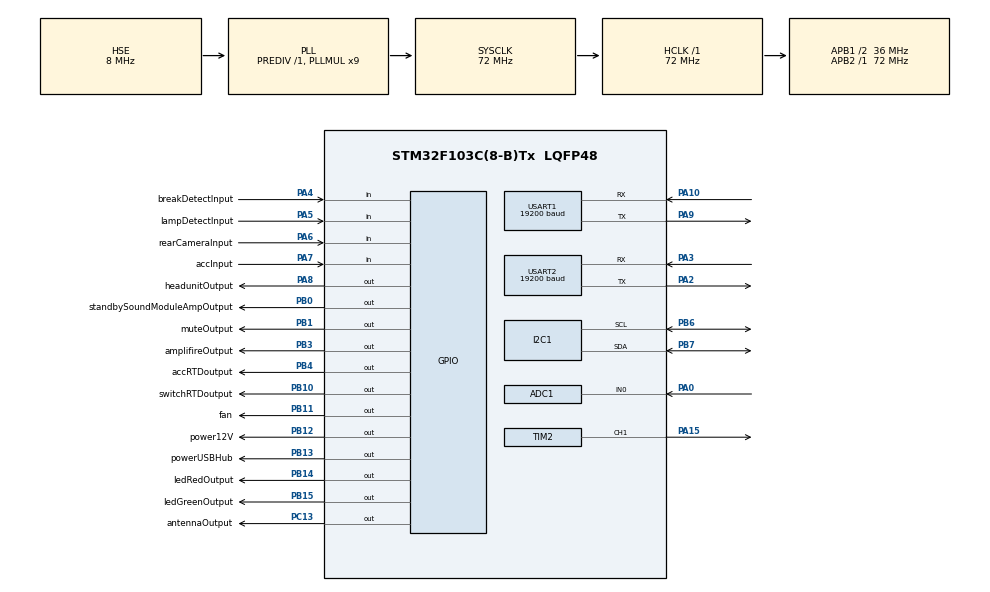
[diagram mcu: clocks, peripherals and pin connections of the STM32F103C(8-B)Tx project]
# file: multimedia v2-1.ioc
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ADC1.Channel-0\#ChannelRegularConversion=ADC_CHANNEL_0
ADC1.Channel-1\#ChannelRegularConversion=ADC_CHANNEL_TEMPSENSOR
ADC1.ContinuousConvMode=ENABLE
ADC1.DataAlign=ADC_DATAALIGN_RIGHT
ADC1.DiscontinuousConvMode=DISABLE
ADC1.EnableAnalogWatchDog=false
ADC1.EnableRegularConversion=ENABLE
ADC1.ExternalTrigConv=ADC_SOFTWARE_START
ADC1.InjNumberOfConversion=0
ADC1.NbrOfConversion=2
ADC1.NbrOfConversionFlag=1
ADC1.Rank-0\#ChannelRegularConversion=1
ADC1.Rank-1\#ChannelRegularConversion=2
ADC1.SamplingTime-0\#ChannelRegularConversion=ADC_SAMPLETIME_239CYCLES_5
ADC1.SamplingTime-1\#ChannelRegularConversion=ADC_SAMPLETIME_239CYCLES_5
ADC1.ScanConvMode=ADC_SCAN_ENABLE
ADC1.master=1
Dma.ADC1.0.Direction=DMA_PERIPH_TO_MEMORY
Dma.ADC1.0.Instance=DMA1_Channel1
Dma.ADC1.0.MemDataAlignment=DMA_MDATAALIGN_WORD
Dma.ADC1.0.MemInc=DMA_MINC_ENABLE
Dma.ADC1.0.Mode=DMA_CIRCULAR
Dma.ADC1.0.PeriphDataAlignment=DMA_PDATAALIGN_WORD
Dma.ADC1.0.PeriphInc=DMA_PINC_DISABLE
Dma.ADC1.0.Priority=DMA_PRIORITY_LOW
Dma.Request0=ADC1
Dma.Request1=USART1_RX
Dma.Request2=USART2_RX
Dma.USART1_RX.1.Direction=DMA_PERIPH_TO_MEMORY
Dma.USART1_RX.1.Instance=DMA1_Channel5
Dma.USART1_RX.1.MemDataAlignment=DMA_MDATAALIGN_BYTE
Dma.USART1_RX.1.MemInc=DMA_MINC_ENABLE
Dma.USART1_RX.1.Mode=DMA_NORMAL
Dma.USART1_RX.1.PeriphDataAlignment=DMA_PDATAALIGN_BYTE
Dma.USART1_RX.1.PeriphInc=DMA_PINC_DISABLE
Dma.USART1_RX.1.Priority=DMA_PRIORITY_LOW
Dma.USART2_RX.2.Direction=DMA_PERIPH_TO_MEMORY
Dma.USART2_RX.2.Instance=DMA1_Channel6
Dma.USART2_RX.2.MemDataAlignment=DMA_MDATAALIGN_BYTE
Dma.USART2_RX.2.MemInc=DMA_MINC_ENABLE
Dma.USART2_RX.2.Mode=DMA_NORMAL
Dma.USART2_RX.2.PeriphDataAlignment=DMA_PDATAALIGN_BYTE
Dma.USART2_RX.2.PeriphInc=DMA_PINC_DISABLE
Dma.USART2_RX.2.Priority=DMA_PRIORITY_LOW
I2C1.AddressingMode=I2C_ADDRESSINGMODE_7BIT
IWDG.Prescaler=IWDG_PRESCALER_256
IWDG.Reload=4095
Mcu.Family=STM32F1
Mcu.Name=STM32F103C(8-B)Tx
Mcu.Package=LQFP48
NVIC.ADC1_2_IRQn=true\:0\:0\:false\:false\:true\:true\:true
NVIC.DMA1_Channel1_IRQn=true\:0\:0\:false\:false\:true\:false\:true
NVIC.DMA1_Channel5_IRQn=true\:0\:0\:false\:false\:true\:false\:true
NVIC.DMA1_Channel6_IRQn=true\:0\:0\:false\:false\:true\:false\:true
NVIC.PriorityGroup=NVIC_PRIORITYGROUP_4
NVIC.USART1_IRQn=true\:0\:0\:false\:false\:true\:true\:true
NVIC.USART2_IRQn=true\:0\:0\:false\:false\:true\:true\:true
PA0-WKUP.Signal=ADCx_IN0
PA10.Mode=Asynchronous
PA10.Signal=USART1_RX
PA13.Mode=Serial_Wire
PA13.Signal=SYS_JTMS-SWDIO
PA14.Mode=Serial_Wire
PA14.Signal=SYS_JTCK-SWCLK
PA15.Signal=S_TIM2_CH1_ETR
PA2.Mode=Asynchronous
PA2.Signal=USART2_TX
PA3.Mode=Asynchronous
PA3.Signal=USART2_RX
PA4.GPIO_Label=breakDetectInput
PA4.GPIO_PuPd=GPIO_PULLUP
PA4.Signal=GPIO_Input
PA5.GPIO_Label=lampDetectInput
PA5.GPIO_PuPd=GPIO_PULLUP
PA5.Signal=GPIO_Input
PA6.GPIO_Label=rearCameraInput
PA6.GPIO_PuPd=GPIO_PULLUP
PA6.Signal=GPIO_Input
PA7.GPIO_Label=accInput
PA7.GPIO_PuPd=GPIO_PULLUP
PA7.Signal=GPIO_Input
PA8.GPIO_Label=headunitOutput
PA8.GPIO_ModeDefaultOutputPP=GPIO_MODE_OUTPUT_PP
PA8.GPIO_PuPd=GPIO_NOPULL
PA8.PinState=GPIO_PIN_SET
PA8.Signal=GPIO_Output
PA9.Mode=Asynchronous
PA9.Signal=USART1_TX
PB0.GPIO_Label=standbySoundModuleAmpOutput
PB0.Signal=GPIO_Output
PB1.GPIO_Label=muteOutput
PB1.Signal=GPIO_Output
PB10.GPIO_Label=switchRTDoutput
PB10.Signal=GPIO_Output
PB11.GPIO_Label=fan
PB11.Signal=GPIO_Output
PB12.GPIO_Label=power12V
PB12.Signal=GPIO_Output
PB13.GPIO_Label=powerUSBHub
PB13.Signal=GPIO_Output
PB14.GPIO_Label=ledRedOutput
PB14.Signal=GPIO_Output
PB15.GPIO_Label=ledGreenOutput
PB15.Signal=GPIO_Output
PB3.GPIO_Label=amplifireOutput
PB3.Signal=GPIO_Output
PB4.GPIO_Label=accRTDoutput
PB4.PinState=GPIO_PIN_SET
PB4.Signal=GPIO_Output
PB6.Mode=I2C
PB6.Signal=I2C1_SCL
PB7.Mode=I2C
PB7.Signal=I2C1_SDA
PC13-TAMPER-RTC.GPIO_Label=antennaOutput
PC13-TAMPER-RTC.Signal=GPIO_Output
PD0-OSC_IN.Mode=HSE-External-Oscillator
PD0-OSC_IN.Signal=RCC_OSC_IN
PD1-OSC_OUT.Mode=HSE-External-Oscillator
PD1-OSC_OUT.Signal=RCC_OSC_OUT
ProjectManager.HeapSize=0x200
ProjectManager.StackSize=0x400
ProjectManager.TargetToolchain=MDK-ARM V5
RCC.ADCPresc=RCC_ADCPCLK2_DIV6
RCC.AHBFreq_Value=72000000
RCC.APB1CLKDivider=RCC_HCLK_DIV2
RCC.APB1Freq_Value=36000000
RCC.APB1TimFreq_Value=72000000
RCC.APB2Freq_Value=72000000
RCC.APB2TimFreq_Value=72000000
RCC.HCLKFreq_Value=72000000
RCC.PLLMUL=RCC_PLL_MUL9
RCC.PLLSourceVirtual=RCC_PLLSOURCE_HSE
RCC.SYSCLKFreq_VALUE=72000000
RCC.SYSCLKSource=RCC_SYSCLKSOURCE_PLLCLK
RCC.USBFreq_Value=48000000
RCC.USBPrescaler=RCC_USBCLKSOURCE_PLL_DIV1_5
RCC.VDD_VALUE=3.3
SH.ADCx_IN0.0=ADC1_IN0,IN0
SH.S_TIM2_CH1_ETR.0=TIM2_CH1,PWM Generation1 CH1
TIM2.AutoReloadPreload=TIM_AUTORELOAD_PRELOAD_DISABLE
TIM2.Channel-PWM\ Generation1\ CH1=TIM_CHANNEL_1
TIM2.ClockDivision=TIM_CLOCKDIVISION_DIV1
TIM2.CounterMode=TIM_COUNTERMODE_UP
TIM2.OCFastMode_PWM-PWM\ Generation1\ CH1=TIM_OCFAST_DISABLE
TIM2.OCMode_PWM-PWM\ Generation1\ CH1=TIM_OCMODE_PWM1
TIM2.OCPolarity_1=TIM_OCPOLARITY_LOW
TIM2.Period=110
TIM2.Prescaler=69
TIM2.Pulse-PWM\ Generation1\ CH1=0
TIM2.TIM_MasterOutputTrigger=TIM_TRGO_RESET
TIM2.TIM_MasterSlaveMode=TIM_MASTERSLAVEMODE_DISABLE
USART1.BaudRate=19200
USART1.VirtualMode=VM_ASYNC
USART2.BaudRate=19200
USART2.VirtualMode=VM_ASYNC
VP_ADC1_TempSens_Input.Mode=IN-TempSens
VP_IWDG_VS_IWDG.Mode=IWDG_Activate
VP_TIM2_VS_ClockSourceINT.Mode=Internal
board=multimedia v2-1

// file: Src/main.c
/* USER CODE BEGIN Header */
/**
  ******************************************************************************
  * @file           : main.c
  * @brief          : Main program body
  ******************************************************************************

  */
/* USER CODE END Header */

#include "main.h"

/* USER CODE BEGIN Includes */
#include "stdbool.h"

/* USER CODE END Includes */

ADC_HandleTypeDef hadc1;
DMA_HandleTypeDef hdma_adc1;

I2C_HandleTypeDef hi2c1;

IWDG_HandleTypeDef hiwdg;

TIM_HandleTypeDef htim2;

UART_HandleTypeDef huart1;
UART_HandleTypeDef huart2;
DMA_HandleTypeDef hdma_usart1_rx;
DMA_HandleTypeDef hdma_usart2_rx;

/* USER CODE BEGIN PV */
GPIO_PinState acciPinState, reverseGearPinState, carLightLampPinState;

/* Private variables ---------------------------------------------------------*/
HAL_StatusTypeDef readAdc;
bool debugState = true;
bool  avTVinputState = false;
bool  carLightState = false;
bool  radioAntenaState = false;
bool  avCameraInputState = false;
bool  accState = false;
bool  firstRun = true;
bool  firstOFF = true;
bool  headUnitCPU_HighTemp = false;
bool delaySwChannelOne = false;
bool delaySwChannelTwo = false;

//uint8_t buffer[8]={0x00, 0x00, 0x00, 0x63, 0x04, 0x23, 0x12, 0x15};
uint8_t pt2313_buffer[8]=
{15,//mainVolume
192,//LeftFront 223-192
224,//RightFront 255-224
128,//LeftRear 159-128
160,//RightRear 191-160
93,//switch mode 64aux  93android & BT  90radio
96,//base 111-96
112//treble 127-112
};

int  i2c_timeout = 2;
int uart_timeout = 100;

int bluetoothCMDlength = 6;
uint32_t TimCall = 0;
HAL_StatusTypeDef init = HAL_BUSY;
int rx_index=0;
int MCU_SHUTDOWN_TIMER = 0;
bool fanPermition = true;
bool fanState = true;
uint8_t rx_data = 0;
uint8_t rx_buffer[64];

uint8_t rx2_data=0;
uint8_t rx2_buffer[64];
int rx2_index=0;

double VroomTemp = 1.43;
double avg_slope = 4.3;
double Vsense = 0;
uint32_t temp = 0;

uint16_t soundModuleI2CAddress = 0x89;
uint16_t RadioModuleI2CAddress = 0xC0;

uint8_t mode[3] = {'m','o','d'};			//MODE androidBT , Radio , AUX
uint8_t audio[3] = {'a','u','d'};			//Audio
uint8_t radio[3] = {'r','a','d'};			//Radio
uint8_t bluetooth[3] = {'b','l','t'};	//Bluetooth
uint8_t other[3] = {'o','t','h'};     //other commads such as brightness , cpu temp , switch av channel
uint8_t debug[3] = {'d','b','g'};			//Debug

uint8_t rspnsReadyStatus[3]= {'M','G','1'};
uint8_t rspnsConnectingStatus[3]= {'M','G','2'};
uint8_t rspnsConnectedStatus[3]= {'M','G','3'};
uint8_t rspnsOutCallStatus[3]= {'M','G','4'};
uint8_t rspnsInCallStatus[3]= {'M','G','5'};
uint8_t rspnsOnCallStatus[3]= {'M','G','6'};
uint8_t rspnsNum[3]= {'N','U','M'};
uint8_t rspnsEnterPairing[2]= {'I','I'};
uint8_t rspnsMusicStart[2]= {'M','B'};
uint8_t rspnsMusicPause[2]= {'M','P'};
uint8_t rspnsMusicStop[2]= {'M','A'};
uint8_t rspnsMusicResume[2]= {'M','R'};
uint8_t rspnsConnectToDevice[2]= {'I','V'};
uint8_t rspnsOutgoingCall[2]= {'I','R'};

uint32_t ADC_buffer[2];

float vsense = 3.3/1023;
int pwmValue = 130 ; //brightness default value
int pwmValueLightOn = 95 ;
/* USER CODE END PV */

void SystemClock_Config(void);
static void MX_GPIO_Init(void);
static void MX_DMA_Init(void);
static void MX_USART1_UART_Init(void);
static void MX_I2C1_Init(void);
static void MX_USART2_UART_Init(void);
static void MX_ADC1_Init(void);
static void MX_IWDG_Init(void);
static void MX_TIM2_Init(void);
/* USER CODE BEGIN PFP */

void custom_delay(uint32_t milliseconds);
bool areEqual(uint8_t arr1[], uint8_t arr2[], int i, int n);
void checkMode(void);
void checkAudio(void);
void checkRadio(void);
void bluetoothSettings(void);
void bluetoothCall(void);
void bluetoothMusic(void);
void checkBluetooth(void);
void checkOtherCommands(void);
int arrayToInt(uint8_t mArr[]);
int arrayToInt_withIndex_soundValues(uint8_t mArr[],int index);
int arrayToInt_withIndex_radioValues(uint8_t mArr[],int index);
bool checkDeviceI2cConnection(uint16_t DevAddress);
bool reverseGearPinStateFunc (void);
bool acciPinStateFunc (void);
void getARMTemp_SetFanState(void);
void changeChannelDelay (int channel);

void custom_delay(uint32_t milliseconds) {

   /* Initially clear flag */

   (void) SysTick->CTRL;

   while (milliseconds != 0) {

      /* COUNTFLAG returns 1 if timer counted to 0 since the last flag read */

      milliseconds -= (SysTick->CTRL & SysTick_CTRL_COUNTFLAG_Msk) >> SysTick_CTRL_COUNTFLAG_Pos;

   }

}

void HAL_UART_RxCpltCallback(UART_HandleTypeDef *huart){//recive from uart1

  if(huart->Instance == USART1  )
  {
    HAL_UART_Receive_DMA (&huart1, &rx_data, 1);
    if(rx_index==0 || rx_index==-1|| rx_index==0xFF)
    {
      for(int i=0; i<64; i++)
      {
        rx_buffer[i]=0;

      }

    }
      //if the charcter received is other than'?' ascii 0x3f, save the data in buffer
    if (rx_data != 0x3f)
    {
      rx_buffer[rx_index++] = rx_data;
    }
    else
    {
     if(accState){
      //VOICE CHANNEL SWITCHING
      if(areEqual(mode, rx_buffer,0,3) ){//sound module is on checked with acc state
        checkMode();
				rx_index = 0;
				return;

      }

      if(areEqual(audio, rx_buffer,0 , 3) ){  //AUDIO SECTION
        checkAudio();
				rx_index = 0;
				return;
      }
			if(areEqual(radio, rx_buffer,0 , 3) ){  //Radio SECTION
				checkRadio();
				rx_index = 0;
				return;
      }

      if(areEqual(bluetooth, rx_buffer,0 , 3) ){	//BT SECTION
				checkBluetooth();
				rx_index = 0;
				return;
      }
			//enable and disable debugmode
      if(areEqual(debug, rx_buffer,0 , 3) ){
				if(debugState){
					debugState = false;
					HAL_UART_Transmit (&huart1, (uint8_t*)"dOff", 4, uart_timeout);
				}else{
					debugState = true;
					HAL_UART_Transmit (&huart1, (uint8_t*)"dOn", 3, uart_timeout);
				}
				rx_index = 0;
				return;
      }
		}

			if(areEqual(other, rx_buffer,0 , 3)){	//Other SECTION
				checkOtherCommands();
				rx_index = 0;
				return;
      }

      rx_index = 0;

    }
  }

		if(huart->Instance == USART2 )
		{
			HAL_UART_Receive_DMA (&huart2, &rx2_data, 1);

			if(rx2_index > 50 ||rx2_buffer[60]!=0x00 || rx2_index==0 ||rx2_data == 0x7E||rx2_data == 0x7B||rx2_data == 0xFF||rx2_data == 0xC7||rx2_data == 0x7C||rx2_data == 0x7E|| rx2_data == 0xFF || rx2_data == 0x3E || rx2_data == 0xEF|| rx2_data == 0xFB||rx2_data == 0xFE||rx2_data == 0x2E||rx2_data == 0xFC || rx2_data == 0x7F|| rx2_data == 0xFC||rx2_data == 0x1F)
			{
				for(int i=0; i<64; i++)
				{
					rx2_buffer[i]=0;
					rx2_index=0;

				}

			}

				//if the charcter received is other than'enter' ascii 0x3f, save the data in buffer
			if (rx2_data != 0x0A && accState)
			{

				rx2_buffer[rx2_index++] = rx2_data;

			}
			else
			{
				//check 0-9 and + in 0 index of rx2 buffer for read incoming call
				if(rx2_buffer[0] == 0x2B || rx2_buffer[0] == 0x30 || rx2_buffer[0] == 0x31 || rx2_buffer[0] == 0x32
						|| rx2_buffer[0] == 0x33  || rx2_buffer[0] == 0x34  || rx2_buffer[0] == 0x35
						|| rx2_buffer[0] == 0x36  || rx2_buffer[0] == 0x37  || rx2_buffer[0] == 0x38
						|| rx2_buffer[0] == 0x39){

						HAL_UART_Transmit_IT(&huart1, rx2_buffer, 22);

					}
				if(rx2_index>=1){
					if(areEqual(rx2_buffer, rspnsReadyStatus, 0, 3)){
						HAL_UART_Transmit_IT(&huart1, rspnsReadyStatus, 3);
						rx2_index = 0;
						return;
					}

					if(areEqual(rx2_buffer, rspnsConnectingStatus, 0, 3)){
						HAL_UART_Transmit_IT(&huart1, rspnsConnectingStatus, 3);
						rx2_index = 0;
						return;
					}

					if(areEqual(rx2_buffer, rspnsConnectedStatus, 0, 3)){
						HAL_UART_Transmit_IT(&huart1, rspnsConnectedStatus, 3);
						rx2_index = 0;
						return;
					}

					if(areEqual(rx2_buffer, rspnsInCallStatus, 0, 3)){
						HAL_UART_Transmit_IT(&huart1, rspnsInCallStatus, 3);
						rx2_index = 0;
						return;

					}

					if(areEqual(rx2_buffer, rspnsOnCallStatus, 0, 3)){
						HAL_UART_Transmit_IT(&huart1, rspnsOnCallStatus, 3);
						rx2_index = 0;
						return;
					}

					if(areEqual(rx2_buffer, rspnsOutCallStatus, 0, 3)){
						HAL_UART_Transmit_IT(&huart1, rspnsOutCallStatus, 3);
						rx2_index = 0;
						return;
					}

					if(areEqual(rx2_buffer, rspnsOutgoingCall, 0, 2)){
						HAL_UART_Transmit_IT(&huart1, rspnsOutgoingCall, 2);
						rx2_index = 0;
						return;
					}

					if(areEqual(rx2_buffer, rspnsMusicStart, 0, 2)){
						HAL_UART_Transmit_IT(&huart1, rspnsMusicStart, 2);
						rx2_index = 0;
						return;
					}

					if(areEqual(rx2_buffer, rspnsMusicResume, 0, 2)){
						HAL_UART_Transmit_IT(&huart1, rspnsMusicResume, 2);
						rx2_index = 0;
						return;
					}

					if(areEqual(rx2_buffer, rspnsMusicPause, 0, 2)){
						HAL_UART_Transmit_IT(&huart1, rspnsMusicPause, 2);
						rx2_index = 0;
						return;
					}

					if(areEqual(rx2_buffer, rspnsMusicStop, 0, 2)){
						HAL_UART_Transmit_IT(&huart1, rspnsMusicStop, 2);
						rx2_index = 0;
						return;
					}

					if(areEqual(rx2_buffer, rspnsEnterPairing, 0, 2)){
						HAL_UART_Transmit_IT(&huart1, rspnsEnterPairing, 2);
						rx2_index = 0;
						return;
					}

					if(areEqual(rx2_buffer, rspnsConnectToDevice, 0, 2)){
						HAL_UART_Transmit_IT(&huart1, rspnsConnectToDevice, 2);
						rx2_index = 0;
						return;
					}
				}

				rx2_index = 0;
			}
    //return;
		}
}

void checkBluetooth(){

	static uint8_t settings[3]= {'s','t','n'};
	static uint8_t call[3]= {'c','l','l'};

	uint8_t secondType[3];

	for (int i=4; i<7; i++){
		secondType[i-4] = rx_buffer[i];
	}

	if (areEqual(secondType, settings, 0,3)){
		bluetoothSettings();

	}else if (areEqual(secondType, call, 0, 3)){
		bluetoothCall();
	}else{
		bluetoothMusic();
	}

}

void bluetoothCall(){

	static uint8_t answer[3]= {'a','n','s'};
	static uint8_t reject[3]= {'r','j','t'};
	static uint8_t endCall[3]= {'e','n','d'};
	static uint8_t redial[3]= {'r','d','l'};
	static uint8_t checkStatus[3]= {'c','h','k'};
	static uint8_t releaseHeldCall[3] = {'r', 'h', 'c'};
	static uint8_t releaseActiveCall[3] = {'r', 'a', 'c'};
	static uint8_t holdActiveCall[3] = {'h', 'a', 'c'};
	static uint8_t audioTransfer[3] = {'a', 't', 'r'};
	uint8_t secondType[14];

	for (int i=8; i<12; i++){
		secondType[i-8] = rx_buffer[i];
	}

	if(areEqual(checkStatus, secondType, 0, 3)){						//check Status call

		//custom_delay(700);
		HAL_UART_Transmit(&huart2, "AT#CY\r", bluetoothCMDlength,uart_timeout);

		return;

	}else if(areEqual(reject, secondType, 0, 3)){			//reject
		HAL_UART_Transmit(&huart2, "AT#CF\r", bluetoothCMDlength,uart_timeout);
		return;

	}else if(areEqual(endCall, secondType, 0, 3)){		//end call
		HAL_UART_Transmit(&huart2, "AT#CG\r", bluetoothCMDlength,uart_timeout);
		return;

	}else if(areEqual(answer, secondType, 0, 3)){		//answer incoming call
		HAL_UART_Transmit(&huart2, "AT#CE\r", bluetoothCMDlength,uart_timeout);
		return;

	}else if(areEqual(redial, secondType, 0, 3)){			//redial
		HAL_UART_Transmit(&huart2, "AT#CH\r", bluetoothCMDlength,uart_timeout);
		return;

	}
	else if(areEqual(audioTransfer, secondType, 0, 3)){			//Audio transfer
		HAL_UART_Transmit(&huart2, "AT#CO\r", bluetoothCMDlength,uart_timeout);
		return;
	}
	else if(areEqual(releaseHeldCall, secondType, 0,3)){  //release held call, reject waiting call
		HAL_UART_Transmit(&huart2, "AT#CQ\r", bluetoothCMDlength,uart_timeout);
		return;
	}
	else if(areEqual(releaseActiveCall, secondType, 0,3)){  //release active call, accept other call
		HAL_UART_Transmit(&huart2, "AT#CR\r", bluetoothCMDlength,uart_timeout);
		return;
	}
	else if(areEqual(holdActiveCall, secondType, 0,3)){  //hold active call, accept other call
		HAL_UART_Transmit(&huart2, "AT#CS\r", bluetoothCMDlength,uart_timeout);
		return;
	}
	else{//outgoing call

		for (int i=8; i<23; i++){
			secondType[i-8] = rx_buffer[i];

		}
		HAL_UART_Transmit(&huart2, "AT#CW", 5,uart_timeout);
		HAL_UART_Transmit(&huart2, secondType, 14,uart_timeout);
		HAL_UART_Transmit(&huart2, "\r", 1,uart_timeout);

		return;
	}

}

void bluetoothMusic(){
	{
	static uint8_t decreaseVolume[3]= {'v','d','n'};
	static uint8_t increaseVolume[3]= {'v','u','p'};
	static uint8_t muteMic[3]= {'m','u','t'};
	static uint8_t playPause[3] = {'p', 'p', 'p'};
	static uint8_t stop[3] = {'s', 't', 'p'};
	static uint8_t forward[3]= {'f','w','d'};
	static uint8_t backward[3]= {'b','w','d'};
	uint8_t secondType[3];

	for (int i=8; i<12; i++){
		secondType[i-8] = rx_buffer[i];
	}

	if(areEqual(decreaseVolume, secondType, 0, 3)){ //volume down
		HAL_UART_Transmit(&huart2, "AT#VD\r", bluetoothCMDlength,uart_timeout);
		return;
	}
	else if(areEqual(increaseVolume, secondType, 0, 3)){  //volume Up
		HAL_UART_Transmit(&huart2, "AT#VU\r", bluetoothCMDlength,uart_timeout);
		return;
	}
	else if(areEqual(muteMic, secondType, 0, 3)){	//TOGGLE MIC
		HAL_UART_Transmit(&huart2,"AT#CM\r", bluetoothCMDlength,uart_timeout);
		return;
	}
	else if(areEqual(playPause, secondType, 0, 3)){  //play , pause
		HAL_UART_Transmit(&huart2, "AT#MA\r", bluetoothCMDlength,uart_timeout);
		return;
	}
	else if(areEqual(stop, secondType, 0, 3)){  //stop
		HAL_UART_Transmit(&huart2, "AT#MC\r", bluetoothCMDlength,uart_timeout);
		return;
	}
	else if(areEqual(forward, secondType, 0, 3)){  //forward
		HAL_UART_Transmit(&huart2, "AT#MD\r", bluetoothCMDlength,uart_timeout);
		return;
	}
	else if(areEqual(backward, secondType, 0, 3)){ //backward
		HAL_UART_Transmit(&huart2, "AT#ME\r", bluetoothCMDlength,uart_timeout);
		return;
	}

	}
}
void bluetoothSettings(){

	static uint8_t enterPairing[3]= {'p','o','n'};
	static uint8_t cancelPairing[3]= {'p','o','f'};
	static uint8_t enableAutoConn[3]= {'e','a','c'};
	static uint8_t disableAutoConn[3]= {'d','a','c'};
	static uint8_t enableAutoAnswer[3]= {'e','a','n'};
	static uint8_t disableAutoAnswer[3]= {'d','a','n'};
	uint8_t secondType[3];

	for (int i=8; i<12; i++){
		secondType[i-8] = rx_buffer[i];
	}

	//start and stop pairing mode
	if(areEqual(secondType, enterPairing, 0,3)){
		HAL_UART_Transmit(&huart2, "AT#CA\r", bluetoothCMDlength,uart_timeout);

		return;
	}else if(areEqual(secondType, cancelPairing, 0,3)){
		HAL_UART_Transmit(&huart2, "AT#CB\r", bluetoothCMDlength,uart_timeout);
		HAL_UART_Transmit_IT(&huart1, "Cancel pairing mode", 19);
		return;
	}

	//enable and disable Auto connect mode
	if(areEqual(secondType, enableAutoConn, 0,3)){

		HAL_UART_Transmit(&huart2, "AT#MG\r", bluetoothCMDlength,uart_timeout);
		HAL_UART_Transmit_IT(&huart1, "Enable Auto connect", 19);
		return;
	}else if(areEqual(secondType, disableAutoConn, 0 , 3)){
		HAL_UART_Transmit(&huart2, "AT#MH\r", bluetoothCMDlength,uart_timeout);
		HAL_UART_Transmit_IT(&huart1, "Disable Auto connect", 20);
		return;
	}

	//enable and disable Auto Answer mode
	if(areEqual(secondType, enableAutoAnswer, 0,3)){

		HAL_UART_Transmit(&huart2, "AT#MP\r", bluetoothCMDlength,uart_timeout);
		HAL_UART_Transmit_IT(&huart1, "Enable Auto Answer", 18);
		return;
	}else if(areEqual(secondType, disableAutoAnswer, 0 , 3)){
		HAL_UART_Transmit(&huart2, "AT#MQ\r", bluetoothCMDlength,uart_timeout);
		HAL_UART_Transmit_IT(&huart1, "Disable Auto Answer", 19);
		return;
	}

}

bool areEqual(uint8_t arr1[], uint8_t arr2[], int i, int n){//compare two array
    // Linearly compare elements
    for (int a=i; a<n; a++){
         if (arr1[a] != arr2[a]){
						return false;
				 }
			 }
    // If all elements were same.
    return true;
}

int arrayToInt(uint8_t mArr[]){ //for radio frq
  int b,o,n,m,k;

  if(mArr[1]==0x00){
    m = (mArr[0]-'0');
    k = m;
  }else if(mArr[2]==0x00){
		n = (mArr[0]-'0')*10;
    m = mArr[1]-'0';
    k = n+m;
	}else if(mArr[3]==0x00){
		o = (mArr[0]-'0')*100;
		n = (mArr[1]-'0')*10;
    m = mArr[2]-'0';
    k = o+n+m;
	}else {
		b = (mArr[0]-'0')*1000;
		o = (mArr[1]-'0')*100;
		n = (mArr[2]-'0')*10;
    m = mArr[3]-'0';
    k = b+o+n+m;
	}
  return k;
}

int arrayToInt_withIndex_soundValues(uint8_t mArr[],int index){//converting recived string data from android to INT for sound values
  int b,o,n,k;
	if(index == 0){
		b= (mArr[index]-'0')*10;
		o= (mArr[index+1]-'0');
		k=b+o;
		return k;
	}else {
		b= (mArr[index]-'0')*100;
		o= (mArr[index+1]-'0')*10;
		n= (mArr[index+2]-'0');
		k=b+o+n;
		return k;
	}

}

int arrayToInt_withIndex_radioValues(uint8_t mArr[],int index){//converting recived string data from android to INT for radio values
  int b,o,n,k,j;
	if(index == 0 || index == 7){
		k= (mArr[index]-'0');
		return k;
	}else {
		b= (mArr[index]-'0')*1000;
		o= (mArr[index+1]-'0')*100;
		n= (mArr[index+2]-'0')*10;
		j= (mArr[index+3]-'0');
		k=b+o+n+j;
		return k;
	}

}

bool checkDeviceI2cConnection(uint16_t DevAddress){//check I2c connection situation with i2c modules

	/* Checks if target device is ready for communication. */
	/* 64 is number of trials, 1000ms is timeout */

	if(HAL_I2C_IsDeviceReady(&hi2c1,DevAddress,100,500) == HAL_OK){
		return true;
	}else return false;
}

bool reverseGearPinStateFunc (){
	reverseGearPinState = HAL_GPIO_ReadPin(GPIOA,rearCameraInput_Pin); //check reverse gear state
	if(reverseGearPinState == GPIO_PIN_RESET){
		return true; //set gear on reverse state
	}else
		return false; //not on reverse
}

bool acciPinStateFunc (){
	acciPinState = HAL_GPIO_ReadPin(GPIOA,accInput_Pin); //check Switch On state
	if(acciPinState == GPIO_PIN_RESET){
		accState = true;
		return true; //switch on
		}else{
		accState = false;
		return false; //off
		}
}

void getARMTemp_SetFanState(){
	//temp = ((VroomTemp - Vsense) / avg_slope) + 25;
	temp= (147.5 - ((75.0*3.5 *Vsense)) / 4096.0);
	if(temp > 60 || headUnitCPU_HighTemp){
		HAL_GPIO_WritePin(fan_GPIO_Port,fan_Pin, GPIO_PIN_SET);
	}else if(temp < 56 && !headUnitCPU_HighTemp){
		HAL_GPIO_WritePin(fan_GPIO_Port,fan_Pin, GPIO_PIN_RESET);
	}
}

void changeChannelDelay(int channel){
	if(channel == 1){
		delaySwChannelTwo = false;
		if(!delaySwChannelOne){
			delaySwChannelOne = true;
			TIM2->CCR1 = 0;
			HAL_Delay(3000);
		}
	}else{
		delaySwChannelOne = false;
		if(!delaySwChannelTwo){
			delaySwChannelTwo = true;
			TIM2->CCR1 = 0;
			HAL_Delay(2000);
		}
	}
}

/* Private function prototypes -----------------------------------------------*/

/* USER CODE END PFP */

/* USER CODE BEGIN 0 */

/*void HAL_TIM_PeriodElapsedCallback(TIM_HandleTypeDef *htim){
	if(htim->Instance == TIM1){
		if(shutDownTimer < 60){
			shutDownTimer++;
		}else
			shutDownTimer = 0;
	}
	htim1.Init.Prescaler = 1099;     init for 1 second counting
  htim1.Init.CounterMode = TIM_COUNTERMODE_UP;
  htim1.Init.Period = 65514;
}*/

/* USER CODE END 0 */

int main(void)
{

  /* MCU Configuration--------------------------------------------------------*/

  /* Reset of all peripherals, Initializes the Flash interface and the Systick. */
  HAL_Init();

  /* Configure the system clock */
  SystemClock_Config();

  /* Initialize all configured peripherals */
  MX_GPIO_Init();
  MX_DMA_Init();
  MX_USART1_UART_Init();
  MX_I2C1_Init();
  MX_USART2_UART_Init();
  MX_ADC1_Init();
  MX_IWDG_Init();
  MX_TIM2_Init();
  /* USER CODE BEGIN 2 */
	__HAL_IWDG_START(&hiwdg);

	HAL_ADC_Start_DMA(&hadc1,(uint32_t*) ADC_buffer, 2);

	//HAL_TIM_Base_Start_IT(&htim1); //statrt timer for counting turn off system
	HAL_TIM_PWM_Start(&htim2, TIM_CHANNEL_1); //start timer2 channel_1 as pwm
	TIM2->CCR1 = pwmValue;//pwm value from 0 to 65535

//__HAL_UART_ENABLE_IT(&huart1,UART_IT_TC);
	//__HAL_UART_ENABLE_IT(&huart1,UART_IT_RXNE);//ssssssssssssssssssssssssssssssssssssssssssssssssssss
	//__HAL_UART_ENABLE_IT(&huart2,UART_IT_RXNE);
	HAL_UART_Receive_DMA (&huart1, &rx_data, 1);
	HAL_UART_Receive_DMA (&huart2, &rx2_data, 1);
  /* USER CODE END 2 */

  /* Infinite loop */
  /* USER CODE BEGIN WHILE */

	HAL_GPIO_WritePin(headunitOutput_GPIO_Port, headunitOutput_Pin, GPIO_PIN_RESET); //set headUnit Off for first time installing and on with first acc power on
	HAL_GPIO_WritePin(muteOutput_GPIO_Port, muteOutput_Pin, GPIO_PIN_SET);
	HAL_GPIO_WritePin(power12V_GPIO_Port, power12V_Pin, GPIO_PIN_SET);
	HAL_GPIO_WritePin(fan_GPIO_Port,fan_Pin, GPIO_PIN_SET);
	TIM2->CCR1 = 0;
	HAL_Delay(500);
	HAL_GPIO_WritePin(headunitOutput_GPIO_Port, headunitOutput_Pin, GPIO_PIN_SET);
	HAL_IWDG_Refresh(&hiwdg);
	HAL_Delay(20000);

	/* check i2c Addresses
	for(int i = 0 ; i < 255 ;i++){
						if(HAL_I2C_IsDeviceReady(&hi2c1,i,10	,1000) == HAL_OK){
						custom_delay(1000);
					}
					}
	*/
	//HAL_UART_Transmit (&huart1, (uint8_t*)"RUN", 3, uart_timeout);
  while (1)
  {

			HAL_IWDG_Refresh(&hiwdg);

				//HAL_Delay(30000); //check watchDog
			 //watch dog with down init 30 seconds need to reset

			carLightLampPinState = HAL_GPIO_ReadPin(GPIOA,lampDetectInput_Pin); //check car light_lamp state9
			reverseGearPinState = HAL_GPIO_ReadPin(GPIOA,rearCameraInput_Pin); //check reverse gear state
			acciPinState = HAL_GPIO_ReadPin(GPIOA,accInput_Pin); //check Switch On state

			if(acciPinStateFunc())//GPIO_PIN_1
			{
				__HAL_UART_ENABLE(&huart2);
				fanPermition = true;
				MCU_SHUTDOWN_TIMER = 0;

				HAL_GPIO_WritePin(power12V_GPIO_Port, power12V_Pin, GPIO_PIN_SET);
				HAL_GPIO_WritePin(powerUSBHub_GPIO_Port, powerUSBHub_Pin, GPIO_PIN_SET);
				HAL_GPIO_WritePin(headunitOutput_GPIO_Port, headunitOutput_Pin, GPIO_PIN_SET);

				accState = true;
				if(firstRun){ //if the acc swith off to on and the pt2313 will turn on and must set values

					TIM2->CCR1 = 0;
					HAL_Delay(3000);
					TIM2->CCR1 = pwmValue;
					HAL_GPIO_WritePin(standbySoundModuleAmpOutput_GPIO_Port, standbySoundModuleAmpOutput_Pin, GPIO_PIN_RESET);// must wait for noise gone
					HAL_Delay(2500);// must wait for noise gone
					//if after delay acc state changed to off dont set sound values
					if(acciPinStateFunc()){
						if(HAL_I2C_IsDeviceReady(&hi2c1,soundModuleI2CAddress,10	,1000) == HAL_OK){
						HAL_I2C_Master_Transmit(&hi2c1,soundModuleI2CAddress,pt2313_buffer,8, i2c_timeout);
						}
					}
					HAL_Delay(500);
					HAL_GPIO_WritePin(muteOutput_GPIO_Port, muteOutput_Pin, GPIO_PIN_RESET); //unmute output
					if(acciPinStateFunc()){
						HAL_UART_Transmit_IT (&huart1, (uint8_t*)"RUN", 3);
						HAL_Delay(500);
						HAL_UART_Transmit_IT (&huart1, (uint8_t*)"RUN", 3);
					}

					firstRun = false;
				}

			}else
			{

				accState = false;
				firstRun = true;
				HAL_GPIO_WritePin(muteOutput_GPIO_Port, muteOutput_Pin, GPIO_PIN_SET);//mute output
				HAL_Delay(1000);
				MCU_SHUTDOWN_TIMER++;
				if(MCU_SHUTDOWN_TIMER > 3){
					__HAL_UART_DISABLE(&huart2);

					if(avCameraInputState || avTVinputState){
					avCameraInputState = false;
					avTVinputState = false;
					HAL_GPIO_WritePin(accRTDoutput_GPIO_Port, accRTDoutput_Pin, GPIO_PIN_SET);
					HAL_Delay(4000); //waiting for switch mode av to hdmi
					}
					HAL_GPIO_WritePin(standbySoundModuleAmpOutput_GPIO_Port, standbySoundModuleAmpOutput_Pin, GPIO_PIN_SET);
					HAL_GPIO_WritePin(antennaOutput_GPIO_Port, antennaOutput_Pin, GPIO_PIN_RESET);
					HAL_GPIO_WritePin(amplifireOutput_GPIO_Port, amplifireOutput_Pin, GPIO_PIN_RESET);
					HAL_GPIO_WritePin(powerUSBHub_GPIO_Port, powerUSBHub_Pin, GPIO_PIN_RESET);
					HAL_GPIO_WritePin(power12V_GPIO_Port, power12V_Pin, GPIO_PIN_RESET);
					if(firstOFF){
						firstOFF = false;
						//HAL_UART_Transmit_IT (&huart1, (uint8_t*)"OFF", 3);    //<ijad tadakhol darsurate hamzamani daryaft az Rx>
					}

					if(MCU_SHUTDOWN_TIMER > 6 && MCU_SHUTDOWN_TIMER < 10){

						HAL_UART_Transmit_IT (&huart1, (uint8_t*)"OFF", 3);
					}

					if(MCU_SHUTDOWN_TIMER > 129600 ){ //after 36 hour headunit will off
						fanPermition = false;
						HAL_GPIO_WritePin(fan_GPIO_Port,fan_Pin, GPIO_PIN_RESET);
						HAL_GPIO_WritePin(headunitOutput_GPIO_Port, headunitOutput_Pin, GPIO_PIN_RESET);
						MCU_SHUTDOWN_TIMER = 0;
					}
				}
			}

			if(accState){
				firstOFF = true;

				if( !reverseGearPinStateFunc() && !avTVinputState)
				{
					avCameraInputState = false;
					HAL_GPIO_WritePin(accRTDoutput_GPIO_Port, accRTDoutput_Pin, GPIO_PIN_SET);
					changeChannelDelay(1);
				}else{
					avCameraInputState = true;
					HAL_GPIO_WritePin(accRTDoutput_GPIO_Port, accRTDoutput_Pin, GPIO_PIN_RESET); // with 0 switch will be on and set on AV camera input
					changeChannelDelay(2);
				}

				if(avTVinputState){
					if(!reverseGearPinStateFunc() )
					{
						avCameraInputState = false;

						HAL_GPIO_WritePin(switchRTDoutput_GPIO_Port, switchRTDoutput_Pin, GPIO_PIN_SET);//Switch from camera to tv
					}else{
						avCameraInputState = true;
						HAL_GPIO_WritePin(switchRTDoutput_GPIO_Port, switchRTDoutput_Pin, GPIO_PIN_RESET); //Switch from tv to camera
					}
				}

				if(carLightLampPinState == GPIO_PIN_RESET){ //check car light state and change the brightness
					carLightState = true;
					//TIM2->CCR1 = pwmValueLightOn;
					TIM2->CCR1 = pwmValue;
				}else {
					carLightState = false;
					TIM2->CCR1 = pwmValue;
				}

			}

    /* USER CODE END WHILE */

    /* USER CODE BEGIN 3 */
		if(fanPermition){getARMTemp_SetFanState();}

  }
  /* USER CODE END 3 */
}

void SystemClock_Config(void)
{
  RCC_OscInitTypeDef RCC_OscInitStruct = {0};
  RCC_ClkInitTypeDef RCC_ClkInitStruct = {0};
  RCC_PeriphCLKInitTypeDef PeriphClkInit = {0};

  /** Initializes the CPU, AHB and APB busses clocks
  */
  RCC_OscInitStruct.OscillatorType = RCC_OSCILLATORTYPE_LSI|RCC_OSCILLATORTYPE_HSE;
  RCC_OscInitStruct.HSEState = RCC_HSE_ON;
  RCC_OscInitStruct.HSEPredivValue = RCC_HSE_PREDIV_DIV1;
  RCC_OscInitStruct.HSIState = RCC_HSI_ON;
  RCC_OscInitStruct.LSIState = RCC_LSI_ON;
  RCC_OscInitStruct.PLL.PLLState = RCC_PLL_ON;
  RCC_OscInitStruct.PLL.PLLSource = RCC_PLLSOURCE_HSE;
  RCC_OscInitStruct.PLL.PLLMUL = RCC_PLL_MUL9;
  if (HAL_RCC_OscConfig(&RCC_OscInitStruct) != HAL_OK)
  {
    Error_Handler();
  }
  /** Initializes the CPU, AHB and APB busses clocks
  */
  RCC_ClkInitStruct.ClockType = RCC_CLOCKTYPE_HCLK|RCC_CLOCKTYPE_SYSCLK
                              |RCC_CLOCKTYPE_PCLK1|RCC_CLOCKTYPE_PCLK2;
  RCC_ClkInitStruct.SYSCLKSource = RCC_SYSCLKSOURCE_PLLCLK;
  RCC_ClkInitStruct.AHBCLKDivider = RCC_SYSCLK_DIV1;
  RCC_ClkInitStruct.APB1CLKDivider = RCC_HCLK_DIV2;
  RCC_ClkInitStruct.APB2CLKDivider = RCC_HCLK_DIV1;

  if (HAL_RCC_ClockConfig(&RCC_ClkInitStruct, FLASH_LATENCY_2) != HAL_OK)
  {
    Error_Handler();
  }
  PeriphClkInit.PeriphClockSelection = RCC_PERIPHCLK_ADC;
  PeriphClkInit.AdcClockSelection = RCC_ADCPCLK2_DIV6;
  if (HAL_RCCEx_PeriphCLKConfig(&PeriphClkInit) != HAL_OK)
  {
    Error_Handler();
  }
}

static void MX_ADC1_Init(void)
{

  ADC_ChannelConfTypeDef sConfig = {0};

  /** Common config
  */
  hadc1.Instance = ADC1;
  hadc1.Init.ScanConvMode = ADC_SCAN_ENABLE;
  hadc1.Init.ContinuousConvMode = ENABLE;
  hadc1.Init.DiscontinuousConvMode = DISABLE;
  hadc1.Init.ExternalTrigConv = ADC_SOFTWARE_START;
  hadc1.Init.DataAlign = ADC_DATAALIGN_RIGHT;
  hadc1.Init.NbrOfConversion = 2;
  if (HAL_ADC_Init(&hadc1) != HAL_OK)
  {
    Error_Handler();
  }
  /** Configure Regular Channel
  */
  sConfig.Channel = ADC_CHANNEL_0;
  sConfig.Rank = ADC_REGULAR_RANK_1;
  sConfig.SamplingTime = ADC_SAMPLETIME_239CYCLES_5;
  if (HAL_ADC_ConfigChannel(&hadc1, &sConfig) != HAL_OK)
  {
    Error_Handler();
  }
  /** Configure Regular Channel
  */
  sConfig.Channel = ADC_CHANNEL_TEMPSENSOR;
  sConfig.Rank = ADC_REGULAR_RANK_2;
  if (HAL_ADC_ConfigChannel(&hadc1, &sConfig) != HAL_OK)
  {
    Error_Handler();
  }

}

static void MX_I2C1_Init(void)
{

  /* USER CODE BEGIN I2C1_Init 0 */
	__HAL_RCC_I2C1_CLK_ENABLE();
  /* USER CODE END I2C1_Init 0 */

  hi2c1.Instance = I2C1;
  hi2c1.Init.ClockSpeed = 100000;
  hi2c1.Init.DutyCycle = I2C_DUTYCYCLE_2;
  hi2c1.Init.OwnAddress1 = 0;
  hi2c1.Init.AddressingMode = I2C_ADDRESSINGMODE_7BIT;
  hi2c1.Init.DualAddressMode = I2C_DUALADDRESS_DISABLE;
  hi2c1.Init.OwnAddress2 = 0;
  hi2c1.Init.GeneralCallMode = I2C_GENERALCALL_DISABLE;
  hi2c1.Init.NoStretchMode = I2C_NOSTRETCH_DISABLE;
  if (HAL_I2C_Init(&hi2c1) != HAL_OK)
  {
    Error_Handler();
  }

}

static void MX_IWDG_Init(void)
{

  hiwdg.Instance = IWDG;
  hiwdg.Init.Prescaler = IWDG_PRESCALER_256;
  hiwdg.Init.Reload = 4095;
  if (HAL_IWDG_Init(&hiwdg) != HAL_OK)
  {
    Error_Handler();
  }

}

static void MX_TIM2_Init(void)
{

  TIM_ClockConfigTypeDef sClockSourceConfig = {0};
  TIM_MasterConfigTypeDef sMasterConfig = {0};
  TIM_OC_InitTypeDef sConfigOC = {0};

  htim2.Instance = TIM2;
  htim2.Init.Prescaler = 71;
  htim2.Init.CounterMode = TIM_COUNTERMODE_UP;
  htim2.Init.Period = 110;
  htim2.Init.ClockDivision = TIM_CLOCKDIVISION_DIV1;
  htim2.Init.AutoReloadPreload = TIM_AUTORELOAD_PRELOAD_DISABLE;
  if (HAL_TIM_Base_Init(&htim2) != HAL_OK)
  {
    Error_Handler();
  }
  sClockSourceConfig.ClockSource = TIM_CLOCKSOURCE_INTERNAL;
  if (HAL_TIM_ConfigClockSource(&htim2, &sClockSourceConfig) != HAL_OK)
  {
    Error_Handler();
  }
  if (HAL_TIM_PWM_Init(&htim2) != HAL_OK)
  {
    Error_Handler();
  }
  sMasterConfig.MasterOutputTrigger = TIM_TRGO_RESET;
  sMasterConfig.MasterSlaveMode = TIM_MASTERSLAVEMODE_DISABLE;
  if (HAL_TIMEx_MasterConfigSynchronization(&htim2, &sMasterConfig) != HAL_OK)
  {
    Error_Handler();
  }
  sConfigOC.OCMode = TIM_OCMODE_PWM1;
  sConfigOC.Pulse = 0;
  sConfigOC.OCPolarity = TIM_OCPOLARITY_LOW;
  sConfigOC.OCFastMode = TIM_OCFAST_DISABLE;
  if (HAL_TIM_PWM_ConfigChannel(&htim2, &sConfigOC, TIM_CHANNEL_1) != HAL_OK)
  {
    Error_Handler();
  }
  HAL_TIM_MspPostInit(&htim2);

}

static void MX_USART1_UART_Init(void)
{

  huart1.Instance = USART1;
  huart1.Init.BaudRate = 19200;
  huart1.Init.WordLength = UART_WORDLENGTH_8B;
  huart1.Init.StopBits = UART_STOPBITS_1;
  huart1.Init.Parity = UART_PARITY_NONE;
  huart1.Init.Mode = UART_MODE_TX_RX;
  huart1.Init.HwFlowCtl = UART_HWCONTROL_NONE;
  huart1.Init.OverSampling = UART_OVERSAMPLING_16;
  if (HAL_UART_Init(&huart1) != HAL_OK)
  {
    Error_Handler();
  }

}

static void MX_USART2_UART_Init(void)
{

  huart2.Instance = USART2;
  huart2.Init.BaudRate = 19200;
  huart2.Init.WordLength = UART_WORDLENGTH_8B;
  huart2.Init.StopBits = UART_STOPBITS_1;
  huart2.Init.Parity = UART_PARITY_NONE;
  huart2.Init.Mode = UART_MODE_TX_RX;
  huart2.Init.HwFlowCtl = UART_HWCONTROL_NONE;
  huart2.Init.OverSampling = UART_OVERSAMPLING_16;
  if (HAL_UART_Init(&huart2) != HAL_OK)
  {
    Error_Handler();
  }

}

static void MX_DMA_Init(void)
{
  /* DMA controller clock enable */
  __HAL_RCC_DMA1_CLK_ENABLE();

  /* DMA interrupt init */
  /* DMA1_Channel1_IRQn interrupt configuration */
  HAL_NVIC_SetPriority(DMA1_Channel1_IRQn, 0, 0);
  HAL_NVIC_EnableIRQ(DMA1_Channel1_IRQn);
  /* DMA1_Channel5_IRQn interrupt configuration */
  HAL_NVIC_SetPriority(DMA1_Channel5_IRQn, 0, 0);
  HAL_NVIC_EnableIRQ(DMA1_Channel5_IRQn);
  /* DMA1_Channel6_IRQn interrupt configuration */
  HAL_NVIC_SetPriority(DMA1_Channel6_IRQn, 0, 0);
  HAL_NVIC_EnableIRQ(DMA1_Channel6_IRQn);

}

static void MX_GPIO_Init(void)
{
  GPIO_InitTypeDef GPIO_InitStruct = {0};

  /* GPIO Ports Clock Enable */
  __HAL_RCC_GPIOC_CLK_ENABLE();
  __HAL_RCC_GPIOD_CLK_ENABLE();
  __HAL_RCC_GPIOA_CLK_ENABLE();
  __HAL_RCC_GPIOB_CLK_ENABLE();

  /*Configure GPIO pin Output Level */
  HAL_GPIO_WritePin(antennaOutput_GPIO_Port, antennaOutput_Pin, GPIO_PIN_RESET);

  /*Configure GPIO pin Output Level */
  HAL_GPIO_WritePin(GPIOB, standbySoundModuleAmpOutput_Pin|muteOutput_Pin|switchRTDoutput_Pin|fan_Pin
                          |power12V_Pin|powerUSBHub_Pin|ledRedOutput_Pin|ledGreenOutput_Pin
                          |amplifireOutput_Pin, GPIO_PIN_RESET);

  /*Configure GPIO pin Output Level */
  HAL_GPIO_WritePin(headunitOutput_GPIO_Port, headunitOutput_Pin, GPIO_PIN_SET);

  /*Configure GPIO pin Output Level */
  HAL_GPIO_WritePin(accRTDoutput_GPIO_Port, accRTDoutput_Pin, GPIO_PIN_SET);

  /*Configure GPIO pin : antennaOutput_Pin */
  GPIO_InitStruct.Pin = antennaOutput_Pin;
  GPIO_InitStruct.Mode = GPIO_MODE_OUTPUT_PP;
  GPIO_InitStruct.Pull = GPIO_NOPULL;
  GPIO_InitStruct.Speed = GPIO_SPEED_FREQ_LOW;
  HAL_GPIO_Init(antennaOutput_GPIO_Port, &GPIO_InitStruct);

  /*Configure GPIO pins : breakDetectInput_Pin lampDetectInput_Pin rearCameraInput_Pin accInput_Pin */
  GPIO_InitStruct.Pin = breakDetectInput_Pin|lampDetectInput_Pin|rearCameraInput_Pin|accInput_Pin;
  GPIO_InitStruct.Mode = GPIO_MODE_INPUT;
  GPIO_InitStruct.Pull = GPIO_PULLUP;
  HAL_GPIO_Init(GPIOA, &GPIO_InitStruct);

  /*Configure GPIO pins : standbySoundModuleAmpOutput_Pin muteOutput_Pin switchRTDoutput_Pin fan_Pin
                           power12V_Pin powerUSBHub_Pin ledRedOutput_Pin ledGreenOutput_Pin
                           amplifireOutput_Pin accRTDoutput_Pin */
  GPIO_InitStruct.Pin = standbySoundModuleAmpOutput_Pin|muteOutput_Pin|switchRTDoutput_Pin|fan_Pin
                          |power12V_Pin|powerUSBHub_Pin|ledRedOutput_Pin|ledGreenOutput_Pin
                          |amplifireOutput_Pin|accRTDoutput_Pin;
  GPIO_InitStruct.Mode = GPIO_MODE_OUTPUT_PP;
  GPIO_InitStruct.Pull = GPIO_NOPULL;
  GPIO_InitStruct.Speed = GPIO_SPEED_FREQ_LOW;
  HAL_GPIO_Init(GPIOB, &GPIO_InitStruct);

  /*Configure GPIO pin : headunitOutput_Pin */
  GPIO_InitStruct.Pin = headunitOutput_Pin;
  GPIO_InitStruct.Mode = GPIO_MODE_OUTPUT_PP;
  GPIO_InitStruct.Pull = GPIO_NOPULL;
  GPIO_InitStruct.Speed = GPIO_SPEED_FREQ_LOW;
  HAL_GPIO_Init(headunitOutput_GPIO_Port, &GPIO_InitStruct);

}

void Error_Handler(void)
{
  while(1){}
}

/************************ (C) COPYRIGHT STMicroelectronics *****END OF FILE****/
